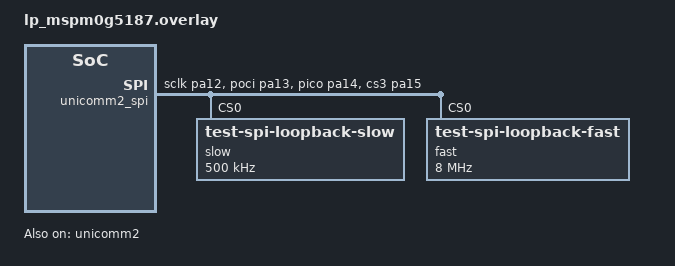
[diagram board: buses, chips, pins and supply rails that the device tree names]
/*
 * Copyright (c) 2026 Texas Instruments Incorporated
 * SPDX-License-Identifier: Apache-2.0
 */

&unicomm2 {
	status = "okay";
};

&unicomm2_spi {
	status = "okay";
	pinctrl-0 = <&uc2_sclk_pa12 &uc2_poci_pa13 &uc2_pico_pa14 &uc2_cs3_pa15>;
	pinctrl-names = "default";
	/* 4-entry FIFO: TX ALMOST_EMPTY, RX NOT_EMPTY */
	tx-fifo-threshold = <6>;
	rx-fifo-threshold = <4>;

	slow@0 {
		compatible = "test-spi-loopback-slow";
		reg = <0>;
		spi-max-frequency = <500000>;
	};

	fast@0 {
		compatible = "test-spi-loopback-fast";
		reg = <0>;
		spi-max-frequency = <8000000>;
	};
};
